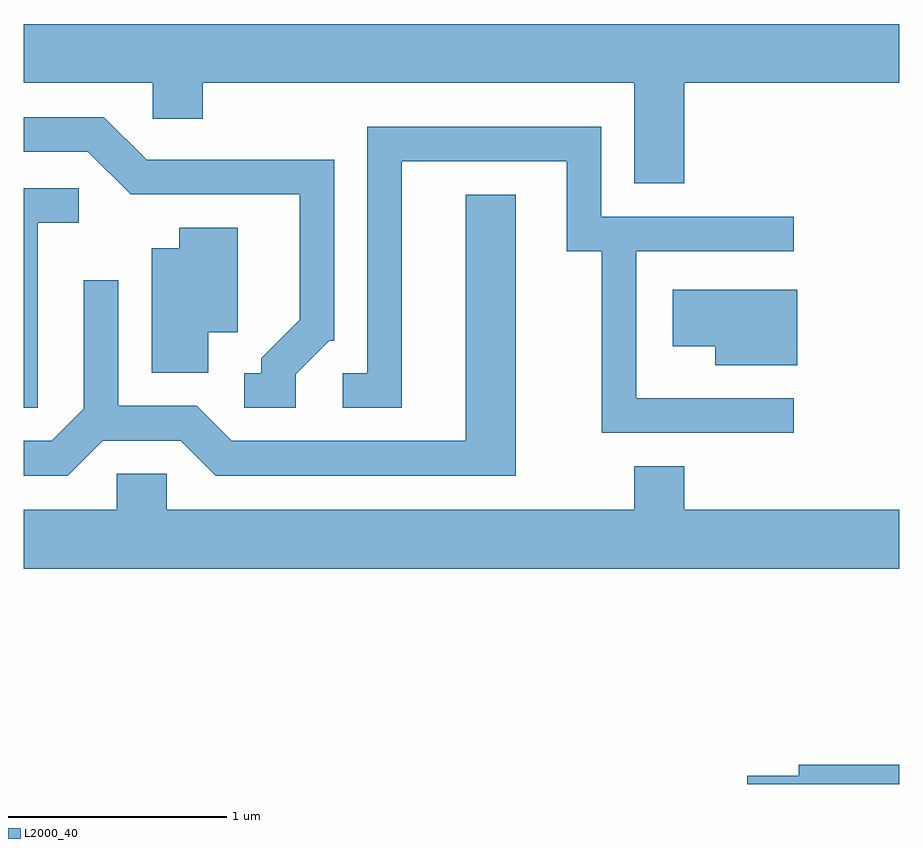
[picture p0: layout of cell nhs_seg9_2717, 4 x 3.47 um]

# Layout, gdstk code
import gdstk
lib = gdstk.Library(unit=1e-6, precision=1e-09)
def P(c, l, *ps):  # polygons
    for p in ps: c.add(gdstk.Polygon(p, *l))
L2000_40 = (2000, 40)

nhs_seg9_2717 = lib.new_cell('nhs_seg9_2717')
P(nhs_seg9_2717, L2000_40, [(268.629,1949.636),(269.611,1949.636),(269.611,1949.904),(265.611,1949.904),(265.611,1949.636),(266.201,1949.636),(266.201,1949.471),(266.429,1949.471),(266.429,1949.636),(268.401,1949.636),(268.401,1949.176),(268.629,1949.176)],
  [(266.854,1948.304),(267.007,1948.456),(267.029,1948.456),(267.029,1949.284),(266.172,1949.284),(265.977,1949.479),(265.611,1949.479),(265.611,1949.321),(265.904,1949.321),(266.099,1949.126),(266.871,1949.126),(266.871,1948.552),(266.696,1948.377),(266.696,1948.309),(266.618,1948.309),(266.618,1948.151),(266.854,1948.151)],
  [(269.128,1948.194),(268.409,1948.194),(268.409,1948.866),(269.128,1948.866),(269.128,1949.024),(268.249,1949.024),(268.249,1949.434),(267.181,1949.434),(267.181,1948.309),(267.068,1948.309),(267.068,1948.151),(267.339,1948.151),(267.339,1949.276),(268.091,1949.276),(268.091,1948.866),(268.251,1948.866),(268.251,1948.036),(269.128,1948.036)],
  [(265.674,1948.996),(265.863,1948.996),(265.863,1949.154),(265.611,1949.154),(265.611,1948.151),(265.674,1948.151)],
  [(265.972,1948.001),(266.329,1948.001),(266.489,1947.841),(267.859,1947.841),(267.859,1949.124),(267.631,1949.124),(267.631,1947.999),(266.562,1947.999),(266.402,1948.159),(266.044,1948.159),(266.044,1948.733),(265.886,1948.733),(265.886,1948.147),(265.739,1947.999),(265.611,1947.999),(265.611,1947.841),(265.812,1947.841)],
  [(266.454,1948.496),(266.589,1948.496),(266.589,1948.974),(266.321,1948.974),(266.321,1948.879),(266.196,1948.879),(266.196,1948.311),(266.454,1948.311)],
  [(269.144,1948.689),(268.576,1948.689),(268.576,1948.431),(268.771,1948.431),(268.771,1948.346),(269.144,1948.346)],
  [(269.611,1947.684),(268.629,1947.684),(268.629,1947.884),(268.401,1947.884),(268.401,1947.684),(266.264,1947.684),(266.264,1947.849),(266.036,1947.849),(266.036,1947.684),(265.611,1947.684),(265.611,1947.416),(269.611,1947.416)],
  [(269.611,1946.519),(269.151,1946.519),(269.151,1946.469),(268.916,1946.469),(268.916,1946.432),(269.611,1946.432)])

lib.write_gds('nhs_seg9_2717.gds')
